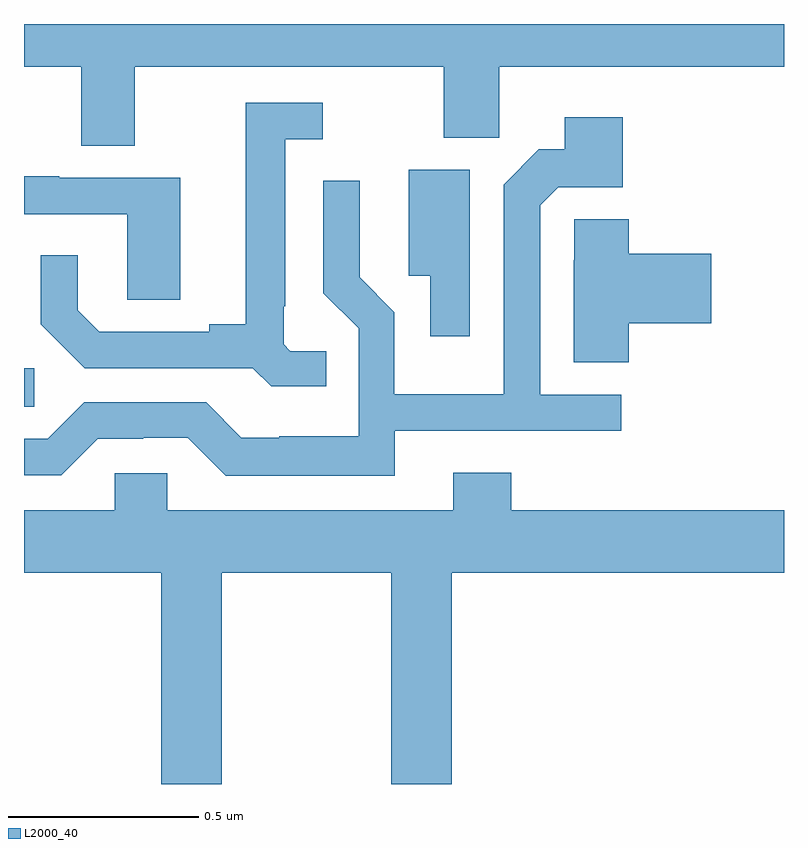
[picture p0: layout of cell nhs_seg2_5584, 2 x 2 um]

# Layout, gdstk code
import gdstk
lib = gdstk.Library(unit=1e-6, precision=1e-09)
def R(c, l, rs):  # rectangles x0, y0, x1, y1
    for r in rs: c.add(gdstk.rectangle(r[:2], r[2:], *l))
def P(c, l, *ps):  # polygons
    for p in ps: c.add(gdstk.Polygon(p, *l))
L2000_40 = (2000, 40)

nhs_seg2_5584 = lib.new_cell('nhs_seg2_5584')
R(nhs_seg2_5584, L2000_40, [(181,594.793,181.027,594.894)])
P(nhs_seg2_5584, L2000_40, [(181.291,595.688),(182.104,595.688),(182.104,595.501),(182.25,595.501),(182.25,595.688),(183,595.688),(183,595.8),(181,595.8),(181,595.688),(181.151,595.688),(181.151,595.48),(181.291,595.48)],
  [(181.796,594.939),(181.701,594.939),(181.683,594.957),(181.683,595.057),(181.687,595.057),(181.687,595.497),(181.786,595.497),(181.786,595.593),(181.583,595.593),(181.583,595.01),(181.487,595.01),(181.487,594.99),(181.198,594.99),(181.141,595.047),(181.141,595.192),(181.044,595.192),(181.044,595.01),(181.16,594.894),(181.602,594.894),(181.65,594.847),(181.796,594.847)],
  [(181.975,594.729),(182.572,594.729),(182.572,594.825),(182.358,594.825),(182.358,595.323),(182.406,595.371),(182.576,595.371),(182.576,595.555),(182.423,595.555),(182.423,595.47),(182.355,595.47),(182.262,595.377),(182.262,594.826),(181.974,594.826),(181.974,595.042),(181.883,595.134),(181.883,595.24),(181.884,595.24),(181.884,595.387),(181.788,595.387),(181.788,595.092),(181.881,594.999),(181.881,594.715),(181.672,594.715),(181.672,594.711),(181.572,594.711),(181.479,594.804),(181.158,594.804),(181.062,594.708),(181,594.708),(181,594.612),(181.098,594.612),(181.194,594.708),(181.314,594.708),(181.314,594.711),(181.431,594.711),(181.531,594.611),(181.975,594.611)],
  [(182.173,595.416),(182.012,595.416),(182.012,595.137),(182.069,595.137),(182.069,594.978),(182.173,594.978)],
  [(181.411,595.395),(181.093,595.395),(181.093,595.399),(181,595.399),(181,595.299),(181.272,595.299),(181.272,595.075),(181.411,595.075)],
  [(182.591,595.013),(182.809,595.013),(182.809,595.196),(182.591,595.196),(182.591,595.286),(182.448,595.286),(182.448,595.178),(182.447,595.178),(182.447,594.91),(182.591,594.91)],
  [(181.521,594.356),(181.966,594.356),(181.966,593.8),(182.126,593.8),(182.126,594.356),(183,594.356),(183,594.52),(182.282,594.52),(182.282,594.619),(182.129,594.619),(182.129,594.52),(181.377,594.52),(181.377,594.618),(181.239,594.618),(181.239,594.52),(181,594.52),(181,594.356),(181.361,594.356),(181.361,593.8),(181.521,593.8)])

lib.write_gds('nhs_seg2_5584.gds')
